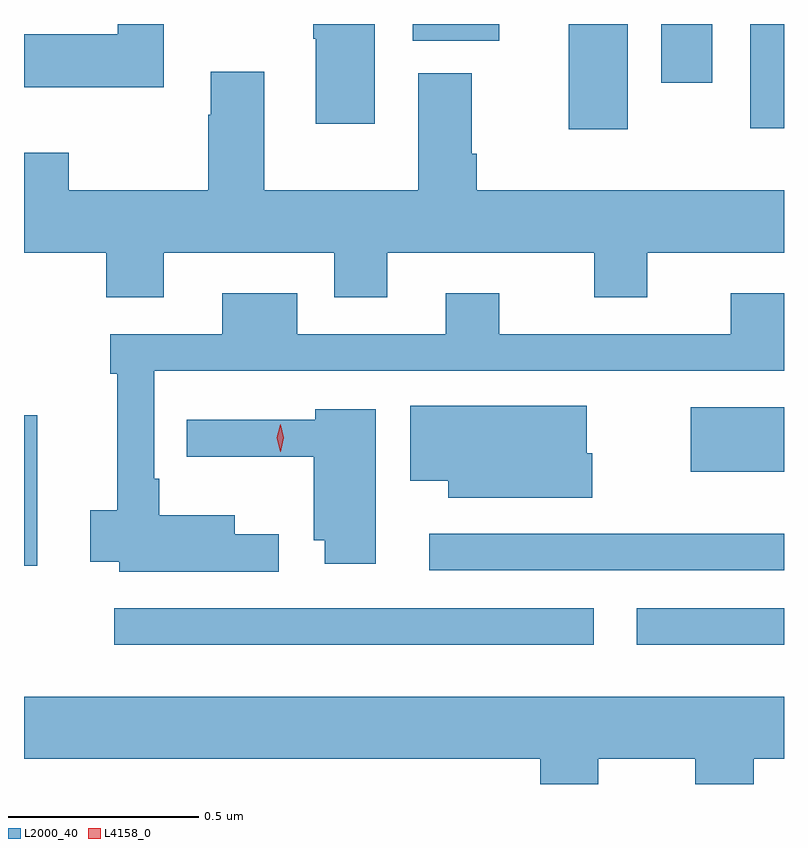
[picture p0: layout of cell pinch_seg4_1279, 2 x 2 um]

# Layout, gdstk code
import gdstk
lib = gdstk.Library(unit=1e-6, precision=1e-09)
def R(c, l, rs):  # rectangles x0, y0, x1, y1
    for r in rs: c.add(gdstk.rectangle(r[:2], r[2:], *l))
def P(c, l, *ps):  # polygons
    for p in ps: c.add(gdstk.Polygon(p, *l))
L2000_40 = (2000, 40)
L4158_0 = (4158, 0)

pinch_seg4_1279 = lib.new_cell('pinch_seg4_1279')
R(pinch_seg4_1279, L2000_40, [(174.789,754.496,176.05,754.593), (176.163,754.496,176.551,754.593), (174.551,754.704,174.586,755.101), (176.306,754.952,176.551,755.122), (175.985,755.853,176.14,756.13), (176.462,755.856,176.551,756.13), (176.228,755.976,176.362,756.13), (175.574,756.086,175.801,756.13)])
P(pinch_seg4_1279, L2000_40, [(174.919,756.13),(174.798,756.13),(174.798,756.103),(174.551,756.103),(174.551,755.963),(174.919,755.963)],
  [(175.474,756.13),(175.312,756.13),(175.312,756.091),(175.319,756.091),(175.319,755.868),(175.474,755.868)],
  [(174.919,755.528),(175.367,755.528),(175.367,755.411),(175.507,755.411),(175.507,755.528),(176.051,755.528),(176.051,755.411),(176.191,755.411),(176.191,755.528),(176.551,755.528),(176.551,755.692),(175.742,755.692),(175.742,755.788),(175.729,755.788),(175.729,756.001),(175.589,756.001),(175.589,755.692),(175.183,755.692),(175.183,756.004),(175.043,756.004),(175.043,755.891),(175.036,755.891),(175.036,755.692),(174.669,755.692),(174.669,755.791),(174.551,755.791),(174.551,755.528),(174.767,755.528),(174.767,755.411),(174.919,755.411)],
  [(175.222,754.787),(175.105,754.787),(175.105,754.837),(174.907,754.837),(174.907,754.933),(174.894,754.933),(174.894,755.217),(176.551,755.217),(176.551,755.422),(176.411,755.422),(176.411,755.313),(175.801,755.313),(175.801,755.422),(175.661,755.422),(175.661,755.313),(175.27,755.313),(175.27,755.422),(175.073,755.422),(175.073,755.313),(174.778,755.313),(174.778,755.21),(174.797,755.21),(174.797,754.85),(174.725,754.85),(174.725,754.715),(174.801,754.715),(174.801,754.688),(175.222,754.688)],
  [(176.047,755.001),(176.032,755.001),(176.032,755.125),(175.568,755.125),(175.568,754.928),(175.667,754.928),(175.667,754.883),(176.047,754.883)],
  [(175.477,755.116),(175.317,755.116),(175.317,755.088),(174.979,755.088),(174.979,754.991),(175.313,754.991),(175.313,754.772),(175.343,754.772),(175.343,754.71),(175.477,754.71)],
  [(176.551,754.789),(176.143,754.789),(176.143,754.788),(175.617,754.788),(175.617,754.692),(176.551,754.692)],
  [(176.062,754.196),(176.318,754.196),(176.318,754.13),(176.471,754.13),(176.471,754.196),(176.551,754.196),(176.551,754.36),(174.551,754.36),(174.551,754.196),(175.91,754.196),(175.91,754.13),(176.062,754.13)])
P(pinch_seg4_1279, L4158_0, [(175.225,755.005),(175.216,755.041),(175.225,755.076),(175.226,755.077),(175.226,755.076),(175.235,755.041),(175.226,755.005),(175.226,755.005)])

lib.write_gds('pinch_seg4_1279.gds')
